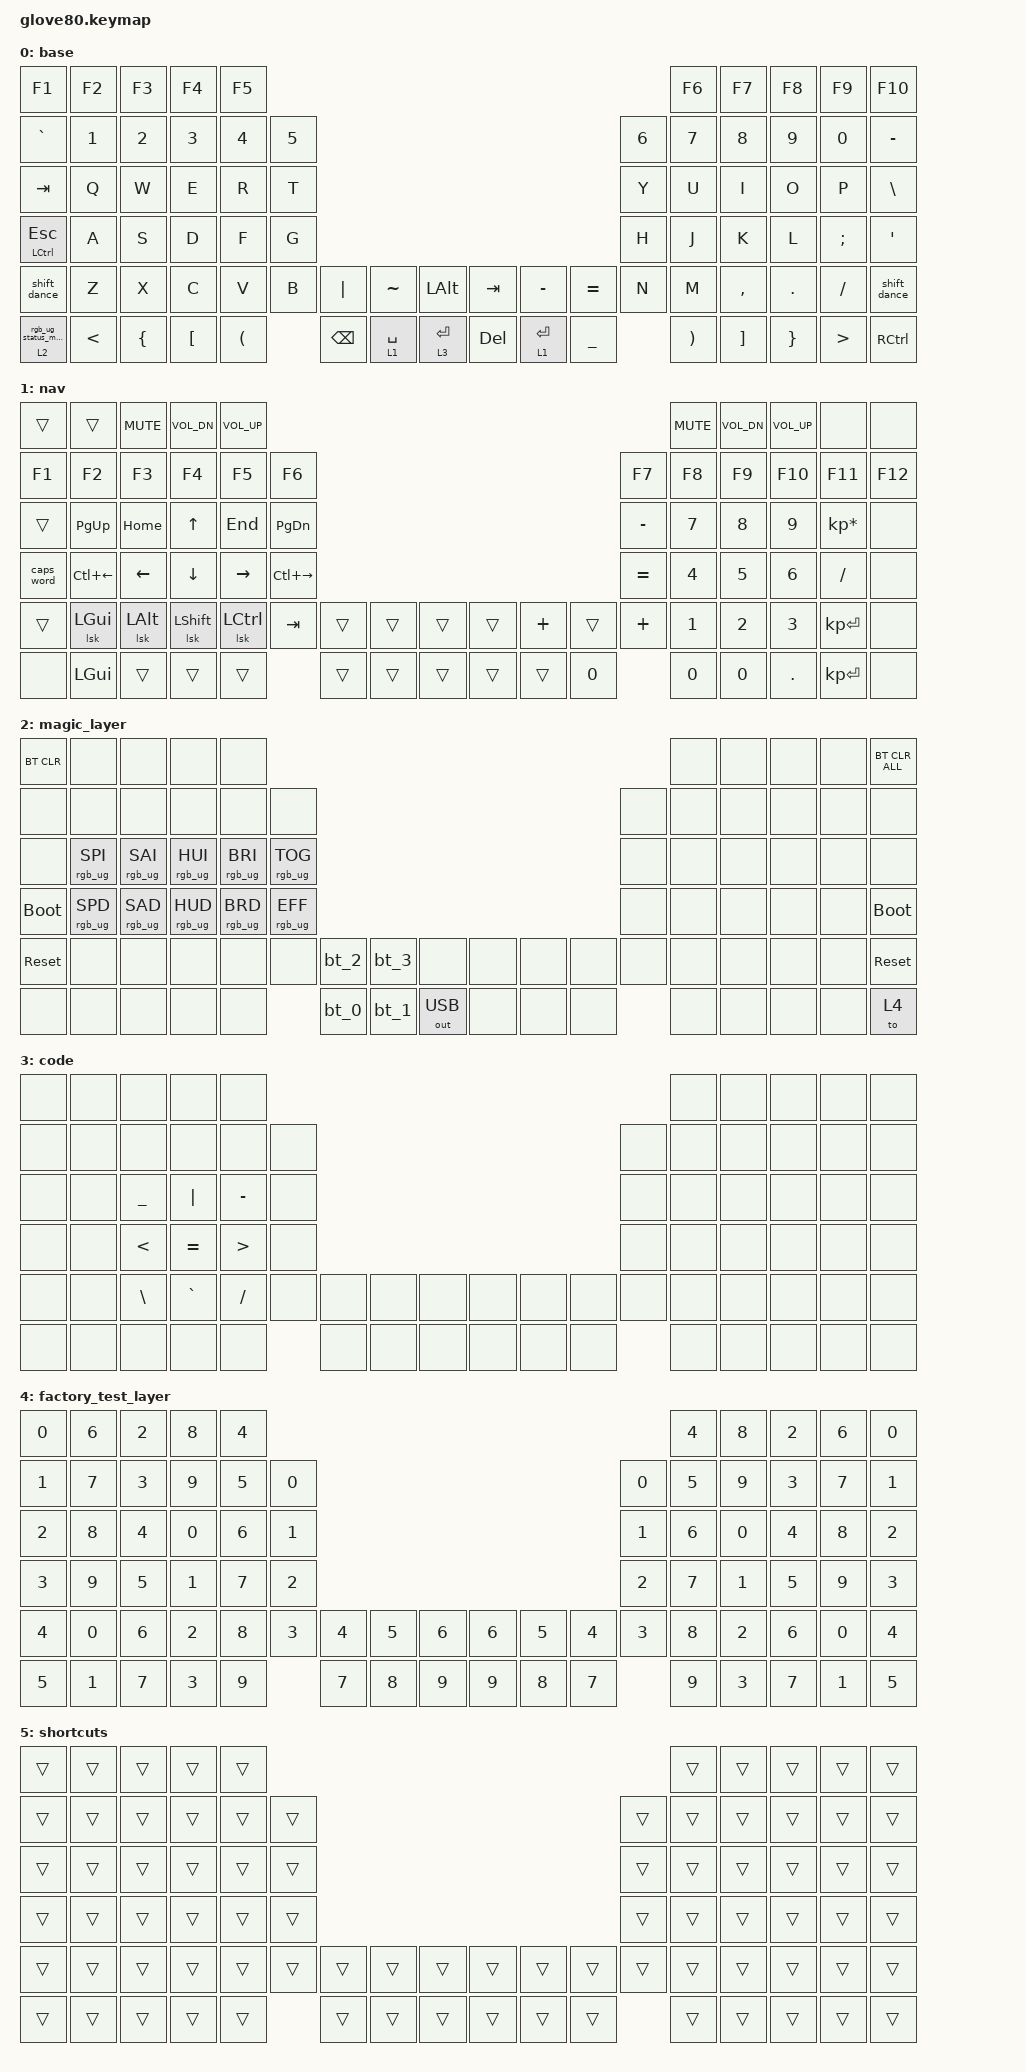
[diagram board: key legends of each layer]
/*
 * Copyright (c) 2020 The ZMK Contributors
 *
 * SPDX-License-Identifier: MIT
 */

#include <behaviors.dtsi>
#include <dt-bindings/zmk/bt.h>
#include <dt-bindings/zmk/keys.h>
#include <dt-bindings/zmk/outputs.h>
#include <dt-bindings/zmk/rgb.h>

#define HYPER LC(LS(LG(LALT)))

// layers

#define DEFAULT 0
#define LOWER 1
#define MAGIC 2
#define FACTORY_TEST 3

&caps_word { continue-list = <UNDERSCORE BACKSPACE DELETE>; };

/ {
    behaviors {
        // For the "layer" key, it'd nice to be able to use it as either a shift or a toggle.
        // Configure it as a tap dance, so the first tap (or hold) is a &mo and the second tap is a &to

        layer_td1: tap_dance_0 {
            compatible = "zmk,behavior-tap-dance";
            label = "LAYER_TAP_DANCE";
            #binding-cells = <0>;
            tapping-term-ms = <200>;
            bindings = <&mo 1>, <&to 1>;
        };

        magic: magic_hold_tap {
            compatible = "zmk,behavior-hold-tap";
            label = "MAGIC_HOLD_TAP";
            #binding-cells = <2>;
            flavor = "tap-preferred";
            tapping-term-ms = <200>;
            bindings = <&mo>, <&rgb_ug_status_macro>;
        };

        hrm_r: hrm_r {
            compatible = "zmk,behavior-hold-tap";
            label = "HRM_R";
            bindings = <&kp>, <&kp>;

            #binding-cells = <2>;
            tapping-term-ms = <285>;
            flavor = "balanced";
            hold-trigger-key-positions = <0 1 2 3 4 10 11 12 13 14 15 22 23 24 25 26 27 34 35 36 37 38 39 46 47 48 49 50 51 66 67 68 65 64 52 53 54 70 71 69>;
            retro-tap;
            hold-trigger-on-release;
            quick-tap-ms = <175>;
            require-prior-idle-ms = <175>;
        };

        lsk: lsk {
            compatible = "zmk,behavior-sticky-key";
            label = "LSK";
            bindings = <&kp>;
            #binding-cells = <1>;
            release-after-ms = <5000>;
            ignore-modifiers;
            lazy;
        };

        hrm_l: hrm_l {
            compatible = "zmk,behavior-hold-tap";
            label = "HRM_L";
            bindings = <&kp>, <&kp>;

            #binding-cells = <2>;
            tapping-term-ms = <285>;
            flavor = "balanced";
            hold-trigger-key-positions = <5 6 7 8 9 16 17 18 19 20 21 28 29 30 31 32 33 40 41 42 43 44 45 58 59 60 61 62 63 75 76 77 78 79 55 56 57 72 73 74>;
            retro-tap;
            hold-trigger-on-release;
            quick-tap-ms = <175>;
            require-prior-idle-ms = <175>;
        };

        shift_dance: shift_dance {
            compatible = "zmk,behavior-tap-dance";
            label = "SHIFT_DANCE";
            #binding-cells = <0>;
            bindings = <&kp LEFT_SHIFT>, <&kp CAPS>;
        };

        new_behavior: new_behavior {
            compatible = "zmk,behavior-hold-tap";
            label = "NEW_BEHAVIOR";
            bindings = <&kp>, <&kp>;

            #binding-cells = <2>;
            tapping-term-ms = <200>;
            quick-tap-ms = <175>;
            flavor = "balanced";
            hold-trigger-on-release;
            require-prior-idle-ms = <65>;
            hold-trigger-key-positions = <5 6 7 8 9 16 17 18 19 20 21 28 29 30 31 32 33 40 41 42 43 44 45 58 59 60 61 62 63 75 76 77 78 79 56 57 74 73 72 55>;
        };

        td3: td3 {
            compatible = "zmk,behavior-tap-dance";
            label = "TD3";
            #binding-cells = <0>;
            tapping-term-ms = <200>;
            bindings = <&mo 3>, <&to 3>;
        };

        llt: llt {
            compatible = "zmk,behavior-hold-tap";
            label = "LLT";
            bindings = <&mo>, <&kp>;

            #binding-cells = <2>;
            flavor = "tap-unless-interrupted";
            tapping-term-ms = <500>;
            quick-tap-ms = <500>;
        };
    };

    macros {
        rgb_ug_status_macro: rgb_ug_status_macro_0 {
            label = "RGB_UG_STATUS";
            compatible = "zmk,behavior-macro";
            #binding-cells = <0>;
            bindings = <&rgb_ug RGB_STATUS>;
        };

        bt_0: bt_profile_macro_0 {
            label = "BT_0";
            compatible = "zmk,behavior-macro";
            #binding-cells = <0>;
            bindings = <&out OUT_BLE &bt BT_SEL 0>;
        };

        bt_1: bt_profile_macro_1 {
            label = "BT_1";
            compatible = "zmk,behavior-macro";
            #binding-cells = <0>;
            bindings = <&out OUT_BLE &bt BT_SEL 1>;
        };

        bt_2: bt_profile_macro_2 {
            label = "BT_2";
            compatible = "zmk,behavior-macro";
            #binding-cells = <0>;
            bindings = <&out OUT_BLE &bt BT_SEL 2>;
        };

        bt_3: bt_profile_macro_3 {
            label = "BT_3";
            compatible = "zmk,behavior-macro";
            #binding-cells = <0>;
            bindings = <&out OUT_BLE &bt BT_SEL 3>;
        };
    };

    combos {
        compatible = "zmk,combos";

        dash {
            bindings = <&kp MINUS>;
            key-positions = <25 26 24>;
            require-prior-idle-ms = <65>;
            layers = <0>;
            timeout-ms = <65>;
        };

        under {
            bindings = <&kp UNDER>;
            key-positions = <37 38 36>;
            require-prior-idle-ms = <65>;
            layers = <0>;
            timeout-ms = <65>;
        };

        plus {
            bindings = <&kp PLUS>;
            key-positions = <67 66 68>;
            require-prior-idle-ms = <65>;
            layers = <0>;
            timeout-ms = <65>;
        };

        pipe {
            bindings = <&kp PIPE>;
            key-positions = <48 49 50>;
            require-prior-idle-ms = <65>;
            layers = <0>;
            timeout-ms = <65>;
        };
    };

    keymap {
        compatible = "zmk,keymap";

        base {
            // ---------------------------------------------------------------------------------------------------------------------------------
            // |  F1   |  F2 |  F3 |  F4  |  F5  |                                                               |  F6   |  F7   |  F8  |   F9  |  F10 |
            // |  =    |  1  |  2  |  3   |  4   |  5   |                                                 |  6   |   7   |   8   |  9   |   0   |   -  |
            // |  TAB  |  Q  |  W  |  E   |  R   |  T   |                                                 |  Y   |   U   |   I   |  O   |   P   |   \  |
            // |  ESC  |  A  |  S  |  D   |  F   |  G   |                                                 |  H   |   J   |   K   |  L   |   ;   |   '  |
            // |   `   |  Z  |  X  |  C   |  V   |  B   | LSHFT | LCTRL | LOWER | | LGUI  | RCTRL | RSHFT |  N   |   M   |   ,   |  .   |   /   | PGUP |
            // | MAGIC | HOME| END | LEFT | RIGHT|      | BSPC  | DEL   | LALT  | | RALT  | RET   | SPACE |      |  UP   | DOWN  |  [   |   ]   | PGDN |

            bindings = <
&kp F1            &kp F2         &kp F3          &kp F4            &kp F5                                                                                                              &kp F6                 &kp F7             &kp F8           &kp F9            &kp F10
&kp GRAVE         &kp N1         &kp N2          &kp N3            &kp N4                &kp N5                                                                                &kp N6  &kp N7                 &kp N8             &kp N9           &kp N0            &kp MINUS
&kp TAB           &kp Q          &kp W           &kp E             &kp R                 &kp T                                                                                 &kp Y   &kp U                  &kp I              &kp O            &kp P             &kp BACKSLASH
&mt LCTRL ESCAPE  &kp A          &kp S           &kp D             &kp F                 &kp G                                                                                 &kp H   &kp J                  &kp K              &kp L            &kp SEMI          &kp SQT
&shift_dance      &kp Z          &kp X           &kp C             &kp V                 &kp B   &kp PIPE       &kp TILDE    &kp LEFT_ALT  &kp TAB     &kp MINUS    &kp EQUAL  &kp N   &kp M                  &kp COMMA          &kp DOT          &kp FSLH          &shift_dance
&magic 2 0        &kp LESS_THAN  &kp LEFT_BRACE  &kp LEFT_BRACKET  &kp LEFT_PARENTHESIS          &kp BACKSPACE  &lt 1 SPACE  &llt 3 ENTER  &kp DELETE  &lt 1 ENTER  &kp UNDER          &kp RIGHT_PARENTHESIS  &kp RIGHT_BRACKET  &kp RIGHT_BRACE  &kp GREATER_THAN  &kp RCTRL
            >;
        };

        nav {
            bindings = <
&trans      &trans              &kp C_MUTE     &kp C_VOL_DN     &kp C_VOLUME_UP                                                                                    &kp C_MUTE  &kp C_VOL_DN  &kp C_VOL_UP  &none            &none
&kp F1      &kp F2              &kp F3         &kp F4           &kp F5           &kp F6                                                                 &kp F7     &kp F8      &kp F9        &kp F10       &kp F11          &kp F12
&trans      &kp PAGE_UP         &kp HOME       &kp UP           &kp END          &kp PAGE_DOWN                                                          &kp MINUS  &kp N7      &kp N8        &kp N9        &kp KP_MULTIPLY  &none
&caps_word  &kp LC(LEFT_ARROW)  &kp LEFT       &kp DOWN         &kp RIGHT        &kp LC(RIGHT_ARROW)                                                    &kp EQUAL  &kp N4      &kp N5        &kp N6        &kp FSLH         &none
&trans      &lsk LEFT_GUI       &lsk LEFT_ALT  &lsk LEFT_SHIFT  &lsk LCTRL       &kp TAB              &trans  &trans  &trans  &trans  &kp PLUS  &trans  &kp PLUS   &kp N1      &kp N2        &kp N3        &kp KP_ENTER     &none
&none       &kp LEFT_GUI        &trans         &trans           &trans                                &trans  &trans  &trans  &trans  &trans    &kp N0             &kp N0      &kp N0        &kp DOT       &kp KP_ENTER     &none
            >;
        };

        magic_layer {
            bindings = <
&bt BT_CLR   &none            &none            &none            &none                                                                                     &none  &none  &none  &none  &bt BT_CLR_ALL
&none        &none            &none            &none            &none            &none                                                             &none  &none  &none  &none  &none  &none
&none        &rgb_ug RGB_SPI  &rgb_ug RGB_SAI  &rgb_ug RGB_HUI  &rgb_ug RGB_BRI  &rgb_ug RGB_TOG                                                   &none  &none  &none  &none  &none  &none
&bootloader  &rgb_ug RGB_SPD  &rgb_ug RGB_SAD  &rgb_ug RGB_HUD  &rgb_ug RGB_BRD  &rgb_ug RGB_EFF                                                   &none  &none  &none  &none  &none  &bootloader
&sys_reset   &none            &none            &none            &none            &none            &bt_2  &bt_3  &none         &none  &none  &none  &none  &none  &none  &none  &none  &sys_reset
&none        &none            &none            &none            &none                             &bt_0  &bt_1  &out OUT_USB  &none  &none  &none         &none  &none  &none  &none  &to 4
            >;
        };

        code {
            bindings = <
&none  &none  &none          &none      &none                                                                     &none  &none  &none  &none  &none
&none  &none  &none          &none      &none             &none                                            &none  &none  &none  &none  &none  &none
&none  &none  &kp UNDER      &kp PIPE   &kp MINUS         &none                                            &none  &none  &none  &none  &none  &none
&none  &none  &kp LESS_THAN  &kp EQUAL  &kp GREATER_THAN  &none                                            &none  &none  &none  &none  &none  &none
&none  &none  &kp BACKSLASH  &kp GRAVE  &kp SLASH         &none  &none  &none  &none  &none  &none  &none  &none  &none  &none  &none  &none  &none
&none  &none  &none          &none      &none                    &none  &none  &none  &none  &none  &none         &none  &none  &none  &none  &none
            >;
        };

        factory_test_layer {
            bindings = <
&kp N0  &kp N6  &kp N2  &kp N8  &kp N4                                                                  &kp N4  &kp N8  &kp N2  &kp N6  &kp N0
&kp N1  &kp N7  &kp N3  &kp N9  &kp N5  &kp N0                                                  &kp N0  &kp N5  &kp N9  &kp N3  &kp N7  &kp N1
&kp N2  &kp N8  &kp N4  &kp N0  &kp N6  &kp N1                                                  &kp N1  &kp N6  &kp N0  &kp N4  &kp N8  &kp N2
&kp N3  &kp N9  &kp N5  &kp N1  &kp N7  &kp N2                                                  &kp N2  &kp N7  &kp N1  &kp N5  &kp N9  &kp N3
&kp N4  &kp N0  &kp N6  &kp N2  &kp N8  &kp N3  &kp N4  &kp N5  &kp N6  &kp N6  &kp N5  &kp N4  &kp N3  &kp N8  &kp N2  &kp N6  &kp N0  &kp N4
&kp N5  &kp N1  &kp N7  &kp N3  &kp N9          &kp N7  &kp N8  &kp N9  &kp N9  &kp N8  &kp N7          &kp N9  &kp N3  &kp N7  &kp N1  &kp N5
            >;
        };

        shortcuts {
            bindings = <
&trans  &trans  &trans  &trans  &trans                                                                  &trans  &trans  &trans  &trans  &trans
&trans  &trans  &trans  &trans  &trans  &trans                                                  &trans  &trans  &trans  &trans  &trans  &trans
&trans  &trans  &trans  &trans  &trans  &trans                                                  &trans  &trans  &trans  &trans  &trans  &trans
&trans  &trans  &trans  &trans  &trans  &trans                                                  &trans  &trans  &trans  &trans  &trans  &trans
&trans  &trans  &trans  &trans  &trans  &trans  &trans  &trans  &trans  &trans  &trans  &trans  &trans  &trans  &trans  &trans  &trans  &trans
&trans  &trans  &trans  &trans  &trans          &trans  &trans  &trans  &trans  &trans  &trans          &trans  &trans  &trans  &trans  &trans
            >;
        };
    };
};
